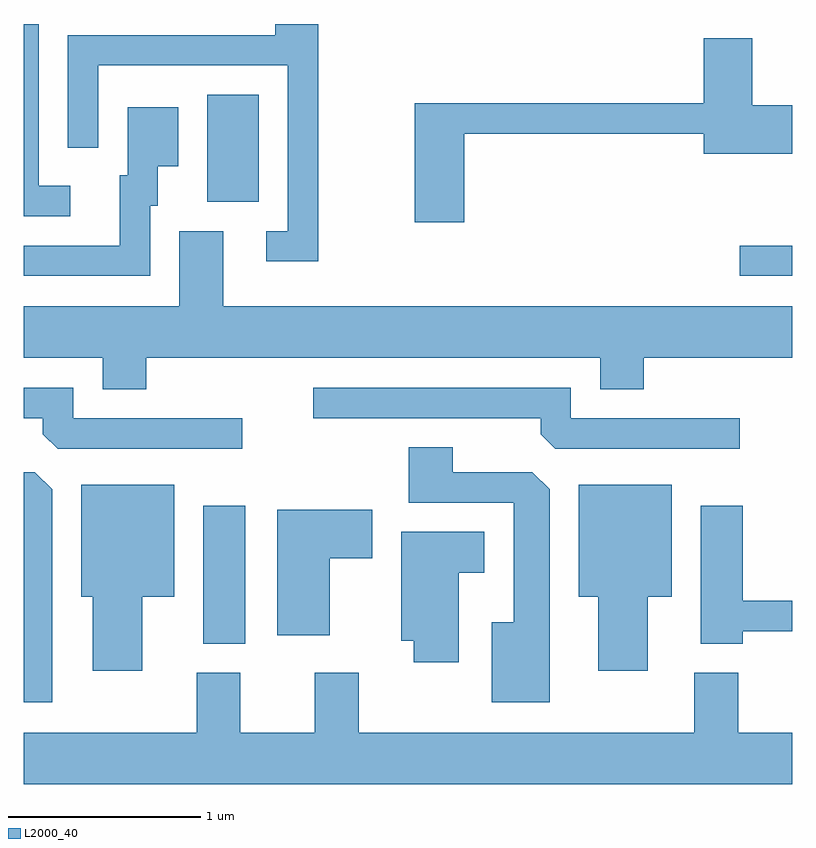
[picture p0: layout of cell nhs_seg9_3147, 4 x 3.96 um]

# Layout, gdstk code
import gdstk
lib = gdstk.Library(unit=1e-6, precision=1e-09)
def R(c, l, rs):  # rectangles x0, y0, x1, y1
    for r in rs: c.add(gdstk.rectangle(r[:2], r[2:], *l))
def P(c, l, *ps):  # polygons
    for p in ps: c.add(gdstk.Polygon(p, *l))
L2000_40 = (2000, 40)

nhs_seg9_3147 = lib.new_cell('nhs_seg9_3147')
R(nhs_seg9_3147, L2000_40, [(278.546,1999.206,278.764,1999.924), (281.338,2001.121,281.611,2001.279), (278.566,2001.506,278.834,2002.064)])
P(nhs_seg9_3147, L2000_40, [(277.853,2001.589),(277.689,2001.589),(277.689,2002.432),(277.611,2002.432),(277.611,2001.431),(277.853,2001.431)],
  [(279.144,2002.432),(278.921,2002.432),(278.921,2002.374),(277.841,2002.374),(277.841,2001.788),(277.999,2001.788),(277.999,2002.216),(278.986,2002.216),(278.986,2001.354),(278.873,2001.354),(278.873,2001.196),(279.144,2001.196)],
  [(279.904,2001.861),(281.151,2001.861),(281.151,2001.756),(281.611,2001.756),(281.611,2002.009),(281.404,2002.009),(281.404,2002.359),(281.151,2002.359),(281.151,2002.019),(279.646,2002.019),(279.646,2001.401),(279.904,2001.401)],
  [(278.269,2001.486),(278.309,2001.486),(278.309,2001.691),(278.414,2001.691),(278.414,2001.999),(278.151,2001.999),(278.151,2001.644),(278.111,2001.644),(278.111,2001.279),(277.611,2001.279),(277.611,2001.121),(278.269,2001.121)],
  [(278.249,2000.696),(280.611,2000.696),(280.611,2000.531),(280.839,2000.531),(280.839,2000.696),(281.611,2000.696),(281.611,2000.964),(278.649,2000.964),(278.649,2001.354),(278.421,2001.354),(278.421,2000.964),(277.611,2000.964),(277.611,2000.696),(278.021,2000.696),(278.021,2000.531),(278.249,2000.531)],
  [(281.338,2000.379),(280.459,2000.379),(280.459,2000.539),(279.118,2000.539),(279.118,2000.381),(280.301,2000.381),(280.301,2000.297),(280.377,2000.221),(281.338,2000.221)],
  [(278.748,2000.379),(277.869,2000.379),(277.869,2000.539),(277.611,2000.539),(277.611,2000.381),(277.711,2000.381),(277.711,2000.297),(277.787,2000.221),(278.748,2000.221)],
  [(280.349,2000.009),(280.259,2000.099),(279.844,2000.099),(279.844,2000.229),(279.616,2000.229),(279.616,1999.941),(280.161,1999.941),(280.161,1999.319),(280.046,1999.319),(280.046,1998.901),(280.349,1998.901)],
  [(277.759,2000.009),(277.669,2000.099),(277.611,2000.099),(277.611,1998.901),(277.759,1998.901)],
  [(280.859,1999.451),(280.984,1999.451),(280.984,2000.034),(280.501,2000.034),(280.501,1999.451),(280.601,1999.451),(280.601,1999.066),(280.859,1999.066)],
  [(278.229,1999.451),(278.394,1999.451),(278.394,2000.034),(277.911,2000.034),(277.911,1999.451),(277.971,1999.451),(277.971,1999.066),(278.229,1999.066)],
  [(281.354,1999.271),(281.611,1999.271),(281.611,1999.429),(281.354,1999.429),(281.354,1999.924),(281.136,1999.924),(281.136,1999.206),(281.354,1999.206)],
  [(279.204,1999.651),(279.424,1999.651),(279.424,1999.904),(278.931,1999.904),(278.931,1999.251),(279.204,1999.251)],
  [(279.874,1999.576),(280.009,1999.576),(280.009,1999.789),(279.576,1999.789),(279.576,1999.221),(279.641,1999.221),(279.641,1999.111),(279.874,1999.111)],
  [(278.511,1999.054),(278.511,1998.744),(277.611,1998.744),(277.611,1998.476),(281.611,1998.476),(281.611,1998.744),(281.329,1998.744),(281.329,1999.054),(281.101,1999.054),(281.101,1998.744),(279.354,1998.744),(279.354,1999.054),(279.126,1999.054),(279.126,1998.744),(278.739,1998.744),(278.739,1999.054)])

lib.write_gds('nhs_seg9_3147.gds')
